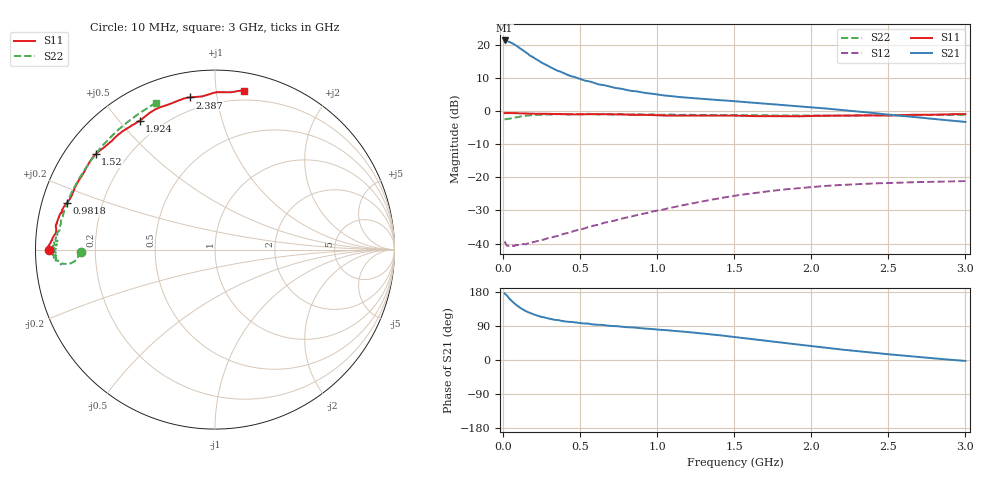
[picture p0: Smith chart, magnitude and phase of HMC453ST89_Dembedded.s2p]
! Hittite Microwave Corporation
! 20 Alpha Road
! Chelmsford, MA 01824
! http://www.hittite.com
! Tel: 978-250-3343
! Fax: 978-250-3373
! Device:  HMC453ST89
! Description: InGaP HBT 1.6 Watt Power Amplifier, 0.4 - 2.2 GHz
! Ports:  2
! Package:  SOT89
! Control:  N/A
! Vdd:  5.0 V
! Idd:  486 mA as a deembedded circuit
! Misc:  No input or output matching circuitry is included in this data.
! Note: Small signal s-parameters to the package pins.
! The following data was generated from one measured device on our evaluation
! board and the evaluation board circuitry was de-embedded to obtain the
! following data.  Hittite supplies this data as a sample of measured data
! for this package product.  Your particular data for this product may vary.
! Hittite reserves the right to change this data at anytime.
# MHZ S MA R 50
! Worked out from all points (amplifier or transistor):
!   201 points, 10 MHz to 3 GHz, reference 50 ohm
!   highest |S21| = 21.3 dB at 10 MHz (marker M1)
!   |S21| within 3 dB of that: start of sweep to 129.7 MHz
!   unconditionally stable (mu >= 1): start of sweep to 44.68 MHz; 201 MHz to end of sweep
!   at 503.4 MHz: K = 1.15, MAG = 20.3 dB, |S12| = -35.7 dB
!   at 1.505 GHz: K = 1.20, MAG = 11.6 dB, |S12| = -25.5 dB
!   at 3 GHz: K = 1.16, MAG = 6.5 dB, |S12| = -21.2 dB
!   S11 on the Smith chart (normalised r, x): 10 MHz: 0.04, -0.00; 981.8 MHz: 0.07, +0.15; 1.52 GHz: 0.09, +0.35; 1.924 GHz: 0.12, +0.57; 2.387 GHz: 0.13, +0.84; 3 GHz: 0.13, +1.19
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10  0.9274 -179.7  11.59 175.5  0.01076 5.5  0.7457 -179.0
24.95  0.9332 -179.4  11.26 170.4  0.009309 6.6  0.76 -178.2
39.9  0.9326 179.5  11.07 162.4  0.009229 5.9  0.7658 -176.5
54.85  0.9304 179.2  10.67 156.3  0.00952 5.1  0.7774 -175.7
84.75  0.9262 178.6  9.695 145.6  0.009586 10.0  0.8031 -174.7
114.65  0.9214 178.1  8.688 136.9  0.009553 15.8  0.8273 -174.4
144.55  0.917 177.6  7.754 129.8  0.009774 19.7  0.8462 -174.7
174.45  0.9154 177.2  6.843 124.3  0.0102 23.9  0.8633 -174.5
249.2  0.9084 176.3  5.386 113.7  0.0114 32.2  0.8763 -176.0
338.9  0.9005 175.1  4.203 105.7  0.01284 39.0  0.8851 -177.2
413.65  0.8912 174.1  3.555 101.3  0.01437 43.8  0.8897 -178.2
518.3  0.8931 172.4  2.941 96.6  0.01669 48.8  0.8876 -179.0
727.6  0.8899 168.9  2.23 89.4  0.02236 54.5  0.886 179.6
981.75  0.8656 162.6  1.803 81.0  0.03091 55.7  0.8892 175.8
1011.65  0.8606 161.6  1.757 80.0  0.03184 55.5  0.8788 175.1
1505  0.8524 142.1  1.405 60.3  0.05284 46.2  0.8651 163.8
1519.95  0.8511 141.4  1.396 59.6  0.0535 45.6  0.8653 163.3
1923.6  0.8318 120.4  1.172 40.3  0.06875 31.2  0.852 148.5
2013.3  0.8436 115.8  1.131 36.2  0.07173 27.9  0.8519 144.9
2387.05  0.8595 99.4  0.9411 19.5  0.08065 14.5  0.8567 130.4
2506.65  0.8566 94.7  0.8789 14.9  0.08216 10.8  0.8594 126.1
3000  0.8958 79.7  0.6848 -2.4  0.0876 -2.5  0.8809 111.8
